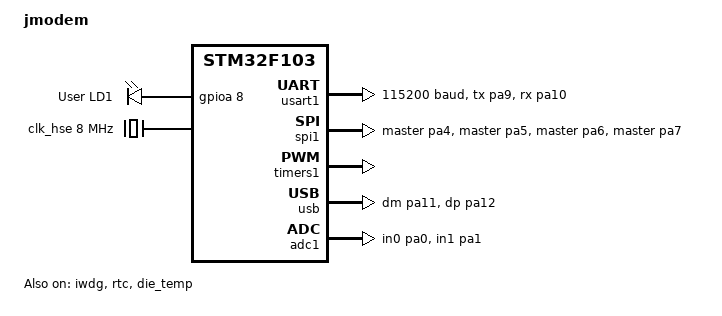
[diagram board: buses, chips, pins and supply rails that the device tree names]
/*
* Copyright (c) 2024 Javad Rahimipetroudi <javad.rahimipetroudi@mind.be>
*
* SPDX-License-Identifier: Apache-2.0
*/

/dts-v1/;
#include <st/f1/stm32f103X8.dtsi>
#include <st/f1/stm32f103c(8-b)tx-pinctrl.dtsi>
#include <zephyr/dt-bindings/input/input-event-codes.h>

/ {
	model = "jmodem";
	compatible = "stm32f103";
	
	chosen {
		zephyr,console = &usart1;
		zephyr,shell-uart = &usart1;
		zephyr,sram = &sram0;
		zephyr,flash = &flash0;
	};
	
	leds {
		compatible = "gpio-leds";
		led_1: led_1 {
			gpios = <&gpioa 8 GPIO_ACTIVE_HIGH>;
			label = "User LD1";
		};
	};
	
	aliases {
		led0 = &led_1;
		watchdog0 = &iwdg;
		die-temp0 = &die_temp;
	};
};

&clk_lsi {
	status = "okay";
};

&clk_hse {
	clock-frequency = <DT_FREQ_M(8)>;
	status = "okay";
};

&pll {
	mul = <9>;
	clocks = <&clk_hse>;
	status = "okay";
};

&rcc {
	clocks = <&pll>;
	clock-frequency = <DT_FREQ_M(72)>;
	ahb-prescaler = <1>;
	apb1-prescaler = <2>;
	apb2-prescaler = <1>;
	/* usbpre not set: USB clock = 72 / 1.5: 48MHz */
};

uart0:&usart1 {
	pinctrl-0 = <&usart1_tx_pa9 &usart1_rx_pa10>;
	pinctrl-names = "default";
	current-speed = <115200>;
	status = "okay";
};

&spi1 {
	pinctrl-0 = <&spi1_nss_master_pa4 &spi1_sck_master_pa5
	&spi1_miso_master_pa6 &spi1_mosi_master_pa7>;
	pinctrl-names = "default";
	status = "okay";
};

&iwdg {
	status = "okay";
};

&timers1 {
	st,prescaler = <10000>;
	status = "okay";

	pwm1: pwm {
		status = "okay";
		pinctrl-0 = <&tim1_ch1_pwm_out_pa8>;
		pinctrl-names = "default";
	};
};

zephyr_udc0: &usb {
	pinctrl-0 = <&usb_dm_pa11 &usb_dp_pa12>;
	pinctrl-names = "default";
	status = "okay";
    cdc_acm_uart0{
        compatible="zephyr,cdc-acm-uart0";
};
};

&rtc {
	clocks = <&rcc STM32_CLOCK_BUS_APB1 0x10000000>,
		 <&rcc STM32_SRC_LSI RTC_SEL(2)>;
	status = "okay";
};

&adc1 {
	pinctrl-0 = <&adc1_in0_pa0 &adc1_in1_pa1>;
	pinctrl-names = "default";
	status = "okay";
};

&die_temp {
	status = "okay";
};
